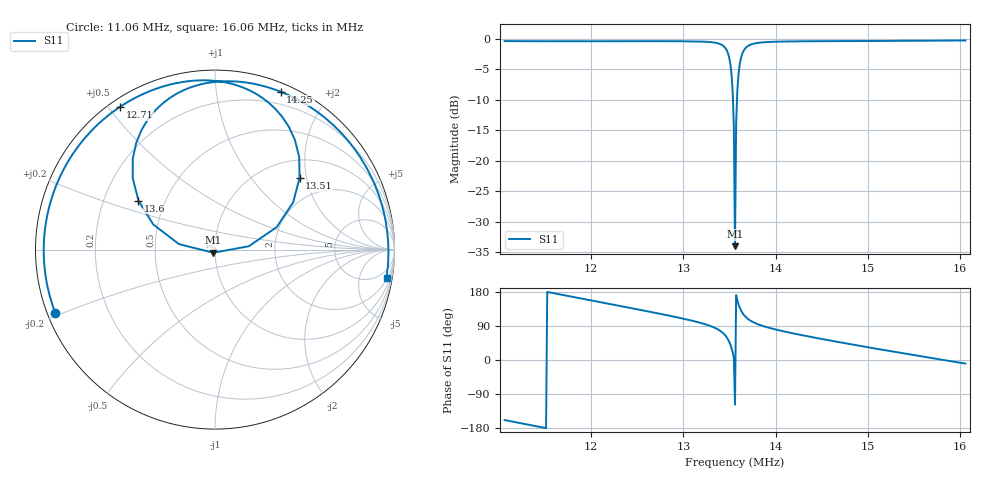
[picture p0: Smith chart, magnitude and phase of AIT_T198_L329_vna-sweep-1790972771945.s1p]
! TC-POWER VNA auto-tune export
# Hz S RI R 50
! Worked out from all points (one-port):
!   401 points, 11.06 MHz to 16.06 MHz, reference 50 ohm
!   lowest |S11| = -34.0 dB at 13.56 MHz (marker M1), VSWR 1.04, Z = 49 - j1.73 ohm
!   |S11| at or under -10 dB: 13.53776 MHz to 13.58165 MHz (43.89 kHz wide, 0.324 % of centre)
!   S11 on the Smith chart (normalised r, x): 11.06 MHz: 0.02, -0.19; 12.71 MHz: 0.03, +0.53; 13.51 MHz: 1.41, +1.82; 13.6 MHz: 0.35, +0.26; 14.25 MHz: 0.08, +1.50; 16.06 MHz: 2, -12
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1.106e7  -0.8906 -0.3508
1.13725e7  -0.9485 -0.1106
1.1685e7  -0.9445 0.1343
1.231e7  -0.7594 0.5789
1.271e7  -0.5306 0.7947
1.2935e7  -0.3649 0.8824
1.321e7  -0.1034 0.9419
1.33725e7  0.1441 0.9074
1.34225e7  0.2631 0.8459
1.346e7  0.3736 0.741
1.3485e7  0.4453 0.6109
1.351e7  0.4712 0.3996
1.35225e7  0.4357 0.2636
1.3535e7  0.3438 0.1251
1.35475e7  0.1882 0.0186
1.356e7  -0.00928 -0.0176
1.35725e7  -0.201 0.0306
1.3585e7  -0.3442 0.1403
1.35975e7  -0.4264 0.2727
1.36225e7  -0.458 0.507
1.366e7  -0.3787 0.718
1.3735e7  -0.1987 0.8763
1.391e7  0.0612 0.9381
1.4185e7  0.3178 0.8968
1.42475e7  0.3662 0.8793
1.481e7  0.7133 0.6387
1.5435e7  0.9271 0.2584
1.606e7  0.9556 -0.1586
